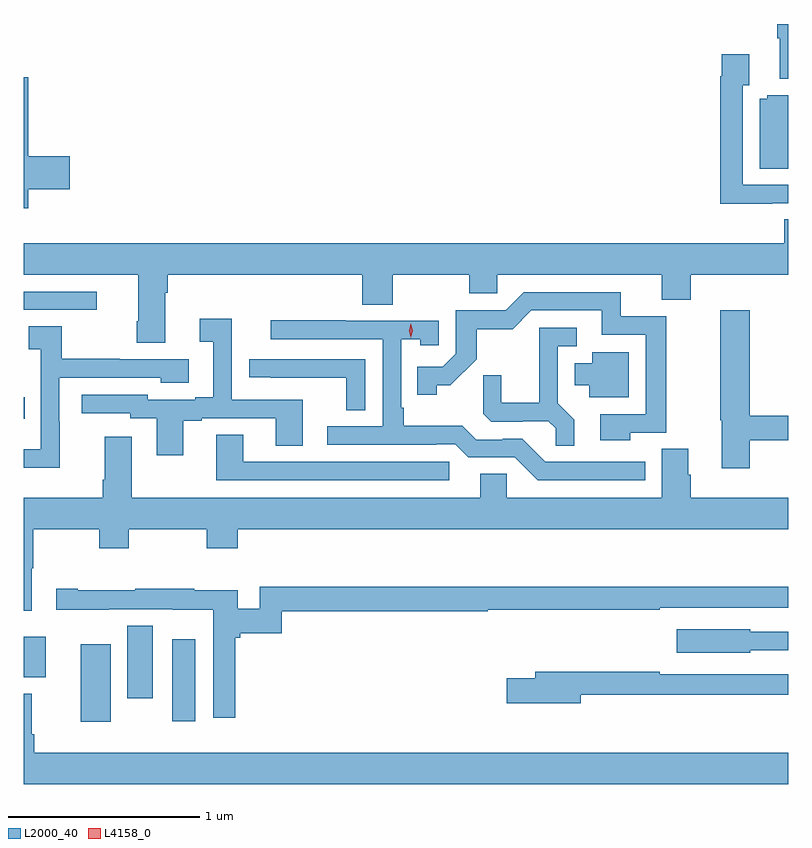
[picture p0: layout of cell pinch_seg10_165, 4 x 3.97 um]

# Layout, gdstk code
import gdstk
lib = gdstk.Library(unit=1e-6, precision=1e-09)
def R(c, l, rs):  # rectangles x0, y0, x1, y1
    for r in rs: c.add(gdstk.rectangle(r[:2], r[2:], *l))
def P(c, l, *ps):  # polygons
    for p in ps: c.add(gdstk.Polygon(p, *l))
L2000_40 = (2000, 40)
L4158_0 = (4158, 0)

pinch_seg10_165 = lib.new_cell('pinch_seg10_165')
R(pinch_seg10_165, L2000_40, [(683.255,1264.677,683.41,1265.083), (683.732,1264.68,683.854,1265.11), (683.498,1264.8,683.632,1265.18), (682.955,1264.91,683.071,1265.122), (682.955,1266.263,682.961,1266.373), (682.955,1266.831,683.338,1266.927)])
P(pinch_seg10_165, L2000_40, [(686.955,1268.326),(686.897,1268.326),(686.897,1268.252),(686.909,1268.252),(686.909,1268.039),(686.955,1268.039)],
  [(686.869,1267.389),(686.955,1267.389),(686.955,1267.485),(686.715,1267.485),(686.715,1268.006),(686.749,1268.006),(686.749,1268.167),(686.607,1268.167),(686.607,1268.054),(686.599,1268.054),(686.599,1267.385),(686.869,1267.385)],
  [(682.979,1267.463),(683.197,1267.463),(683.197,1267.634),(682.979,1267.634),(682.979,1268.047),(682.955,1268.047),(682.955,1267.362),(682.979,1267.362)],
  [(686.955,1267.954),(686.844,1267.954),(686.844,1267.936),(686.804,1267.936),(686.804,1267.57),(686.955,1267.57)],
  [(683.695,1266.92),(683.708,1266.92),(683.708,1267.016),(684.725,1267.016),(684.725,1266.859),(684.885,1266.859),(684.885,1267.016),(685.285,1267.016),(685.285,1266.918),(685.431,1266.918),(685.431,1267.016),(686.291,1267.016),(686.291,1266.883),(686.444,1266.883),(686.444,1267.016),(686.955,1267.016),(686.955,1267.304),(686.933,1267.304),(686.933,1267.18),(682.955,1267.18),(682.955,1267.016),(683.555,1267.016),(683.555,1266.772),(683.548,1266.772),(683.548,1266.66),(683.695,1266.66)],
  [(686.127,1266.189),(686.317,1266.189),(686.317,1266.798),(686.078,1266.798),(686.078,1266.924),(685.572,1266.924),(685.476,1266.828),(685.215,1266.828),(685.215,1266.603),(685.146,1266.534),(685.015,1266.534),(685.015,1266.387),(685.116,1266.387),(685.116,1266.437),(685.186,1266.437),(685.324,1266.574),(685.324,1266.73),(685.513,1266.73),(685.611,1266.828),(685.979,1266.828),(685.979,1266.702),(686.208,1266.702),(686.208,1266.285),(685.971,1266.285),(685.971,1266.149),(686.127,1266.149)],
  [(686.753,1266.15),(686.955,1266.15),(686.955,1266.278),(686.753,1266.278),(686.753,1266.829),(686.599,1266.829),(686.599,1266.255),(686.606,1266.255),(686.606,1266.003),(686.753,1266.003)],
  [(683.791,1266.252),(683.887,1266.252),(683.887,1266.264),(684.275,1266.264),(684.275,1266.121),(684.415,1266.121),(684.415,1266.36),(684.045,1266.36),(684.045,1266.784),(683.877,1266.784),(683.877,1266.664),(683.948,1266.664),(683.948,1266.373),(683.852,1266.373),(683.852,1266.36),(683.604,1266.36),(683.604,1266.387),(683.259,1266.387),(683.259,1266.291),(683.514,1266.291),(683.514,1266.264),(683.651,1266.264),(683.651,1266.072),(683.791,1266.072)],
  [(686.206,1266.036),(685.683,1266.036),(685.563,1266.156),(685.462,1266.156),(685.462,1266.153),(685.323,1266.153),(685.25,1266.226),(684.943,1266.226),(684.943,1266.319),(684.93,1266.319),(684.93,1266.677),(685.029,1266.677),(685.029,1266.645),(685.125,1266.645),(685.125,1266.774),(684.641,1266.774),(684.641,1266.777),(684.249,1266.777),(684.249,1266.678),(684.834,1266.678),(684.834,1266.222),(684.543,1266.222),(684.543,1266.126),(685.112,1266.126),(685.112,1266.129),(685.212,1266.129),(685.281,1266.06),(685.524,1266.06),(685.644,1265.94),(686.206,1265.94)],
  [(683.145,1266.245),(683.142,1266.245),(683.142,1266.477),(683.673,1266.477),(683.673,1266.449),(683.818,1266.449),(683.818,1266.573),(683.459,1266.573),(683.459,1266.576),(683.155,1266.576),(683.155,1266.746),(682.983,1266.746),(682.983,1266.625),(683.046,1266.625),(683.046,1266.103),(682.955,1266.103),(682.955,1266.005),(683.145,1266.005)],
  [(685.835,1266.257),(685.749,1266.343),(685.749,1266.642),(685.849,1266.642),(685.849,1266.738),(685.652,1266.738),(685.652,1266.346),(685.454,1266.346),(685.454,1266.489),(685.36,1266.489),(685.36,1266.287),(685.401,1266.246),(685.566,1266.246),(685.566,1266.249),(685.7,1266.249),(685.737,1266.212),(685.737,1266.121),(685.835,1266.121)],
  [(686.119,1266.61),(685.928,1266.61),(685.928,1266.553),(685.838,1266.553),(685.838,1266.437),(685.913,1266.437),(685.913,1266.374),(686.119,1266.374)],
  [(684.741,1266.573),(684.135,1266.573),(684.135,1266.478),(684.247,1266.478),(684.247,1266.477),(684.643,1266.477),(684.643,1266.307),(684.741,1266.307)],
  [(685.18,1266.036),(684.103,1266.036),(684.103,1266.179),(683.963,1266.179),(683.963,1265.94),(685.18,1265.94)],
  [(682.999,1265.48),(683.007,1265.48),(683.007,1265.684),(683.35,1265.684),(683.35,1265.585),(683.505,1265.585),(683.505,1265.684),(683.914,1265.684),(683.914,1265.585),(684.074,1265.585),(684.074,1265.684),(686.955,1265.684),(686.955,1265.848),(686.444,1265.848),(686.444,1265.97),(686.431,1265.97),(686.431,1266.104),(686.291,1266.104),(686.291,1265.848),(685.482,1265.848),(685.482,1265.975),(685.343,1265.975),(685.343,1265.848),(683.521,1265.848),(683.521,1266.169),(683.381,1266.169),(683.381,1265.944),(683.369,1265.944),(683.369,1265.848),(682.955,1265.848),(682.955,1265.259),(682.999,1265.259)],
  [(684.062,1265.117),(684.089,1265.117),(684.089,1265.14),(684.305,1265.14),(684.305,1265.254),(685.382,1265.254),(685.382,1265.262),(686.282,1265.262),(686.282,1265.274),(686.955,1265.274),(686.955,1265.383),(684.189,1265.383),(684.189,1265.269),(684.076,1265.269),(684.076,1265.364),(683.849,1265.364),(683.849,1265.374),(683.539,1265.374),(683.539,1265.364),(683.239,1265.364),(683.239,1265.374),(683.127,1265.374),(683.127,1265.264),(683.402,1265.264),(683.402,1265.265),(683.736,1265.265),(683.736,1265.264),(683.946,1265.264),(683.946,1264.698),(684.062,1264.698)],
  [(686.754,1265.052),(686.955,1265.052),(686.955,1265.148),(686.754,1265.148),(686.754,1265.161),(686.37,1265.161),(686.37,1265.039),(686.754,1265.039)],
  [(685.87,1264.818),(686.955,1264.818),(686.955,1264.926),(686.282,1264.926),(686.282,1264.939),(685.631,1264.939),(685.631,1264.905),(685.482,1264.905),(685.482,1264.775),(685.87,1264.775)],
  [(686.955,1264.516),(683.012,1264.516),(683.012,1264.612),(682.999,1264.612),(682.999,1264.825),(682.955,1264.825),(682.955,1264.352),(686.955,1264.352)])
P(pinch_seg10_165, L4158_0, [(684.981,1266.686),(684.981,1266.687),(684.971,1266.723),(684.981,1266.759),(684.981,1266.759),(684.981,1266.759),(684.991,1266.723),(684.981,1266.687)])

lib.write_gds('pinch_seg10_165.gds')
